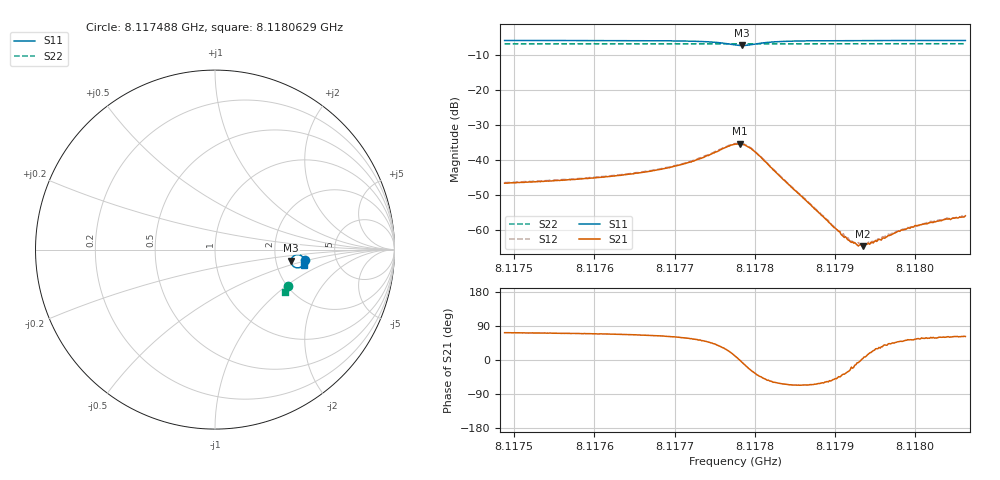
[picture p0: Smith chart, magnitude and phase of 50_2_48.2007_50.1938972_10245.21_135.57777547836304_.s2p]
#  HZ  S  RI  R  50.00
! Rohde & Schwarz Vector Network Analyzer
! Rohde-Schwarz,ZNB20-2Port,1311601062101988,3.16
! Created: UTC 3/20/2024, 11:38:14 AM
! freq[Hz]  re:S11  im:S11  re:S21  im:S21  re:S12  im:S12  re:S22  im:S22
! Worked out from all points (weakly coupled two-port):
!   401 points, 8.117488 GHz to 8.1180629 GHz, reference 50 ohm
!   highest |S21| = -35.36 dB at 8.1177812 GHz (marker M1); lowest = -64.5 dB at 8.117935 GHz (marker M2)
!   lowest |S11| = -7.4 dB at 8.1177841 GHz (marker M3), VSWR 2.50, Z = 122 - j18.2 ohm
!   |S11| at or under -10 dB: nowhere
!   |S22| runs from -6.9 to -6.9 dB; largest |S21 - S12| = 0.00051
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8.11748798e9  0.5018 -0.0568  0.00145 0.00447  0.00155 0.00455  0.4049 -0.2012
8.11758427e9  0.4997 -0.0673  0.0019 0.00508  0.00194 0.00513  0.4021 -0.2074
8.11763314e9  0.4976 -0.0739  0.00231 0.00563  0.00239 0.00572  0.4004 -0.2107
8.11768057e9  0.4936 -0.0823  0.00323 0.00657  0.00338 0.00666  0.3988 -0.2136
8.11772225e9  0.4841 -0.0936  0.0055 0.00799  0.00559 0.00807  0.397 -0.2166
8.11775818e9  0.4548 -0.1014  0.0117 0.00803  0.0119 0.00818  0.3948 -0.2187
8.11777543e9  0.4282 -0.0831  0.0166 0.00312  0.0169 0.00315  0.3932 -0.2186
8.11778118e9  0.4238 -0.0691  0.0171 2.38e-05  0.0173 -0.000214  0.3932 -0.2182
8.11778405e9  0.4238 -0.0612  0.0168 -0.00173  0.017 -0.00179  0.393 -0.2183
8.1177898e9  0.4284 -0.0464  0.0152 -0.00464  0.0155 -0.0049  0.3933 -0.218
8.11779843e9  0.4436 -0.032  0.0117 -0.00726  0.0117 -0.00757  0.3938 -0.218
8.11782574e9  0.4821 -0.035  0.0035 -0.00588  0.00353 -0.00602  0.3946 -0.2203
8.11787173e9  0.4964 -0.0547  0.000929 -0.00198  0.000942 -0.00203  0.3935 -0.224
8.11790191e9  0.4982 -0.0623  0.000672 -0.000793  0.000677 -0.000778  0.3927 -0.2262
8.11791772e9  0.4985 -0.0655  0.000628 -0.000352  0.000638 -0.000373  0.3921 -0.2272
8.11792778e9  0.4987 -0.0674  0.000616 -7.8e-05  0.000639 -0.000138  0.3918 -0.2278
8.11793497e9  0.4986 -0.0686  0.000595 4.14e-05  0.00062 4.4e-05  0.3916 -0.2283
8.1179479e9  0.4987 -0.0707  0.000603 0.000277  0.000619 0.000273  0.391 -0.2293
8.11796803e9  0.4987 -0.0736  0.000617 0.000581  0.000647 0.00059  0.3904 -0.2304
8.11799821e9  0.4985 -0.0773  0.000663 0.000893  0.000678 0.00091  0.3896 -0.2325
8.11801689e9  0.4984 -0.0795  0.000681 0.00108  0.000716 0.00108  0.3888 -0.2335
8.11806289e9  0.4977 -0.0843  0.000756 0.00143  0.00075 0.0014  0.3872 -0.2365
